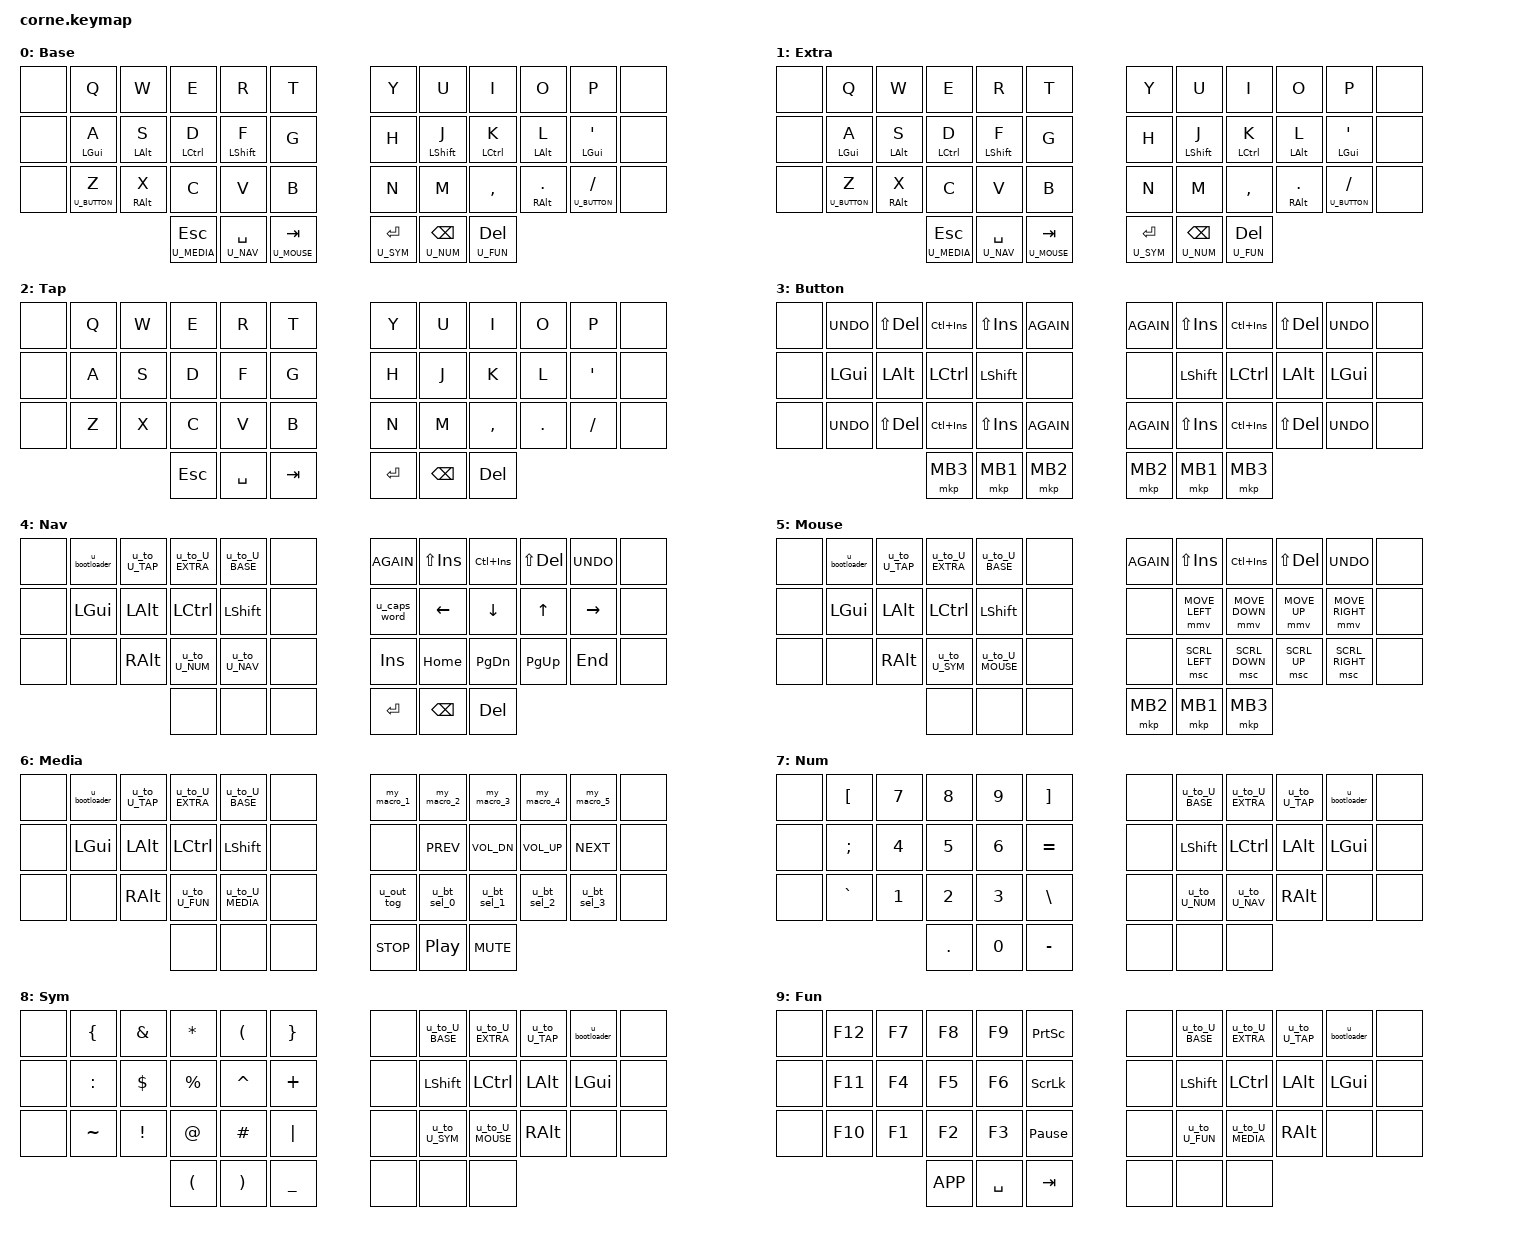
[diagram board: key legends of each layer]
#include <behaviors.dtsi>
#include <behaviors/mouse_keys.dtsi>
#include <dt-bindings/zmk/bt.h>
#include <dt-bindings/zmk/keys.h>
#include <dt-bindings/zmk/outputs.h>
#include <dt-bindings/zmk/pointing.h>
#define U_BASE 0
#define U_EXTRA 1
#define U_TAP 2
#define U_BUTTON 3
#define U_NAV 4
#define U_MOUSE 5
#define U_MEDIA 6
#define U_NUM 7
#define U_SYM 8
#define U_FUN 9
#define U_TAPPING_TERM 0xc8  // 200ms
#define U_RDO &kp K_AGAIN
#define U_PST &kp LS(INS)
#define U_CPY &kp LC(INS)
#define U_CUT &kp LS(DEL)
#define U_UND &kp K_UNDO

&mt {
  flavor = "tap-preferred";
  tapping-term-ms = <U_TAPPING_TERM>;
};

&lt {
  flavor = "tap-preferred";
  tapping-term-ms = <U_TAPPING_TERM>;
};

/ {
  behaviors {
    u_bootloader: u_bootloader {
      compatible = "zmk,behavior-tap-dance";
      #binding-cells = <0>;
      tapping-term-ms = <U_TAPPING_TERM>;
      bindings = <&none>, <&bootloader>;
    };

    u_to_U_BASE: u_to_U_BASE {
      compatible = "zmk,behavior-tap-dance";
      #binding-cells = <0>;
      tapping-term-ms = <U_TAPPING_TERM>;
      bindings = <&none>, <&to U_BASE>;
    };

    u_to_U_EXTRA: u_to_U_EXTRA {
      compatible = "zmk,behavior-tap-dance";
      #binding-cells = <0>;
      tapping-term-ms = <U_TAPPING_TERM>;
      bindings = <&none>, <&to U_EXTRA>;
    };

    u_to_U_TAP: u_to_U_TAP {
      compatible = "zmk,behavior-tap-dance";
      #binding-cells = <0>;
      tapping-term-ms = <U_TAPPING_TERM>;
      bindings = <&none>, <&to U_TAP>;
    };

    u_to_U_BUTTON: u_to_U_BUTTON {
      compatible = "zmk,behavior-tap-dance";
      #binding-cells = <0>;
      tapping-term-ms = <U_TAPPING_TERM>;
      bindings = <&none>, <&to U_BUTTON>;
    };

    u_to_U_NAV: u_to_U_NAV {
      compatible = "zmk,behavior-tap-dance";
      #binding-cells = <0>;
      tapping-term-ms = <U_TAPPING_TERM>;
      bindings = <&none>, <&to U_NAV>;
    };

    u_to_U_MOUSE: u_to_U_MOUSE {
      compatible = "zmk,behavior-tap-dance";
      #binding-cells = <0>;
      tapping-term-ms = <U_TAPPING_TERM>;
      bindings = <&none>, < &to U_MOUSE >;
    };

    u_to_U_MEDIA: u_to_U_MEDIA {
      compatible = "zmk,behavior-tap-dance";
      #binding-cells = <0>;
      tapping-term-ms = <U_TAPPING_TERM>;
      bindings = <&none>, < &to U_MEDIA >;
    };

    u_to_U_NUM: u_to_U_NUM {
      compatible = "zmk,behavior-tap-dance";
      #binding-cells = <0>;
      tapping-term-ms = <U_TAPPING_TERM>;
      bindings = <&none>, < &to U_NUM >;
    };

    u_to_U_SYM: u_to_U_SYM {
      compatible = "zmk,behavior-tap-dance";
      #binding-cells = <0>;
      tapping-term-ms = <U_TAPPING_TERM>;
      bindings = <&none>, < &to U_SYM >;
    };

    u_to_U_FUN: u_to_U_FUN {
      compatible = "zmk,behavior-tap-dance";
      #binding-cells = <0>;
      tapping-term-ms = <U_TAPPING_TERM>;
      bindings = <&none>, < &to U_FUN >;
    };

    u_caps_word: u_caps_word {
      compatible = "zmk,behavior-mod-morph";
      #binding-cells = <0>;
      bindings = <&caps_word>, <&kp CAPS>;
      mods = <( MOD_LSFT|MOD_RSFT )>;
    };

    u_out_tog: u_out_tog {
      compatible = "zmk,behavior-mod-morph";
      #binding-cells = <0>;
      bindings = <&out OUT_TOG>, <&out OUT_USB>;
      mods = <( MOD_LSFT|MOD_RSFT )>;
    };

    u_bt_sel_0: u_bt_sel_0 {
      compatible = "zmk,behavior-mod-morph";
      #binding-cells = <0>;
      bindings = <&bt BT_SEL 0>, <&bt BT_SEL 0 &bt BT_CLR>;
      mods = <( MOD_LSFT|MOD_RSFT )>;
    };

    u_bt_sel_1: u_bt_sel_1 {
      compatible = "zmk,behavior-mod-morph";
      #binding-cells = <0>;
      bindings = <&bt BT_SEL 1>, <&bt BT_SEL 1 &bt BT_CLR>;
      mods = <( MOD_LSFT|MOD_RSFT )>;
    };

    u_bt_sel_2: u_bt_sel_2 {
      compatible = "zmk,behavior-mod-morph";
      #binding-cells = <0>;
      bindings = <&bt BT_SEL 2>, <&bt BT_SEL 2 &bt BT_CLR>;
      mods = <( MOD_LSFT|MOD_RSFT )>;
    };

    u_bt_sel_3: u_bt_sel_3 {
      compatible = "zmk,behavior-mod-morph";
      #binding-cells = <0>;
      bindings = <&bt BT_SEL 3>, <&bt BT_SEL 3 &bt BT_CLR>;
      mods = <( MOD_LSFT|MOD_RSFT )>;
    };

    u_bt_sel_4: u_bt_sel_4 {
      compatible = "zmk,behavior-mod-morph";
      #binding-cells = <0>;
      bindings = <&bt BT_SEL 4>, <&bt BT_SEL 4 &bt BT_CLR>;
      mods = <( MOD_LSFT|MOD_RSFT )>;
    };
  };

  macros {
    my_macro_1: my_macro_1 {
      compatible = "zmk,behavior-macro";
      #binding-cells = <0>;
      wait-ms = <10>;
      tap-ms = <5>;
      bindings = <&none>;
    };

    my_macro_2: my_macro_2 {
      compatible = "zmk,behavior-macro";
      #binding-cells = <0>;
      wait-ms = <10>;
      tap-ms = <5>;
      bindings = <&none>;
    };

    my_macro_3: my_macro_3 {
      compatible = "zmk,behavior-macro";
      #binding-cells = <0>;
      wait-ms = <10>;
      tap-ms = <5>;
      bindings = <&none>;
    };

    my_macro_4: my_macro_4 {
      compatible = "zmk,behavior-macro";
      #binding-cells = <0>;
      wait-ms = <10>;
      tap-ms = <5>;
      bindings = <&none>;
    };

    my_macro_5: my_macro_5 {
      compatible = "zmk,behavior-macro";
      #binding-cells = <0>;
      wait-ms = <10>;
      tap-ms = <5>;
      bindings = <&none>;
    };
  };

  keymap {
    compatible = "zmk,keymap";

    base_layer {
      display-name = "Base";
      bindings = <
&none  &kp Q           &kp W       &kp E        &kp R        &kp T    &kp Y  &kp U        &kp I        &kp O         &kp P              &none
&none  &mt LGUI A      &mt LALT S  &mt LCTRL D  &mt LSHFT F  &kp G    &kp H  &mt LSHFT J  &mt LCTRL K  &mt LALT L    &mt LGUI SQT       &none
&none  &lt U_BUTTON Z  &mt RALT X  &kp C        &kp V        &kp B    &kp N  &kp M        &kp COMMA    &mt RALT DOT  &lt U_BUTTON FSLH  &none
&lt U_MEDIA ESC  &lt U_NAV SPACE  &lt U_MOUSE TAB    &lt U_SYM RET  &lt U_NUM BSPC  &lt U_FUN DEL
>;
    };

    extra_layer {
      display-name = "Extra";
      bindings = <
&none  &kp Q           &kp W       &kp E        &kp R        &kp T    &kp Y  &kp U        &kp I        &kp O         &kp P              &none
&none  &mt LGUI A      &mt LALT S  &mt LCTRL D  &mt LSHFT F  &kp G    &kp H  &mt LSHFT J  &mt LCTRL K  &mt LALT L    &mt LGUI SQT       &none
&none  &lt U_BUTTON Z  &mt RALT X  &kp C        &kp V        &kp B    &kp N  &kp M        &kp COMMA    &mt RALT DOT  &lt U_BUTTON FSLH  &none
&lt U_MEDIA ESC  &lt U_NAV SPACE  &lt U_MOUSE TAB    &lt U_SYM RET  &lt U_NUM BSPC  &lt U_FUN DEL
>;
    };

    tap_layer {
      display-name = "Tap";
      bindings = <
&none  &kp Q  &kp W  &kp E  &kp R  &kp T    &kp Y  &kp U  &kp I      &kp O    &kp P      &none
&none  &kp A  &kp S  &kp D  &kp F  &kp G    &kp H  &kp J  &kp K      &kp L    &kp SQT    &none
&none  &kp Z  &kp X  &kp C  &kp V  &kp B    &kp N  &kp M  &kp COMMA  &kp DOT  &kp SLASH  &none
&kp ESC  &kp SPACE  &kp TAB    &kp RET  &kp BSPC  &kp DEL
>;
    };

    button_layer {
      display-name = "Button";
      bindings = <
&none  U_UND     U_CUT     U_CPY      U_PST      U_RDO    U_RDO  U_PST      U_CPY      U_CUT     U_UND     &none
&none  &kp LGUI  &kp LALT  &kp LCTRL  &kp LSHFT  &none    &none  &kp LSHFT  &kp LCTRL  &kp LALT  &kp LGUI  &none
&none  U_UND     U_CUT     U_CPY      U_PST      U_RDO    U_RDO  U_PST      U_CPY      U_CUT     U_UND     &none
&mkp MB3  &mkp MB1  &mkp MB2    &mkp MB2  &mkp MB1  &mkp MB3
>;
    };

    nav_layer {
      display-name = "Nav";
      bindings = <
&none  &u_bootloader  &u_to_U_TAP  &u_to_U_EXTRA  &u_to_U_BASE  &none      U_RDO         U_PST     U_CPY      U_CUT      U_UND      &none
&none  &kp LGUI       &kp LALT     &kp LCTRL      &kp LSHFT     &none      &u_caps_word  &kp LEFT  &kp DOWN   &kp UP     &kp RIGHT  &none
&none  &none          &kp RALT     &u_to_U_NUM    &u_to_U_NAV   &none      &kp INS       &kp HOME  &kp PG_DN  &kp PG_UP  &kp END    &none
&none  &none  &none    &kp RET  &kp BSPC  &kp DEL
>;
    };

    mouse_layer {
      display-name = "Mouse";
      bindings = <
&none  &u_bootloader  &u_to_U_TAP  &u_to_U_EXTRA  &u_to_U_BASE   &none    U_RDO  U_PST           U_CPY           U_CUT         U_UND            &none
&none  &kp LGUI       &kp LALT     &kp LCTRL      &kp LSHFT      &none    &none  &mmv MOVE_LEFT  &mmv MOVE_DOWN  &mmv MOVE_UP  &mmv MOVE_RIGHT  &none
&none  &none          &kp RALT     &u_to_U_SYM    &u_to_U_MOUSE  &none    &none  &msc SCRL_LEFT  &msc SCRL_DOWN  &msc SCRL_UP  &msc SCRL_RIGHT  &none
&none  &none  &none   &mkp MB2  &mkp MB1  &mkp MB3
>;
    };

    media_layer {
      display-name = "Media";
      bindings = <
&none  &u_bootloader  &u_to_U_TAP  &u_to_U_EXTRA  &u_to_U_BASE   &none    &my_macro_1  &my_macro_2  &my_macro_3   &my_macro_4   &my_macro_5  &none
&none  &kp LGUI       &kp LALT     &kp LCTRL      &kp LSHFT      &none    &none        &kp C_PREV   &kp C_VOL_DN  &kp C_VOL_UP  &kp C_NEXT   &none
&none  &none          &kp RALT     &u_to_U_FUN    &u_to_U_MEDIA  &none    &u_out_tog   &u_bt_sel_0  &u_bt_sel_1   &u_bt_sel_2   &u_bt_sel_3  &none
&none  &none  &none    &kp C_STOP  &kp C_PP  &kp C_MUTE
>;
    };

    num_layer {
      display-name = "Num";
      bindings = <
&none  &kp LBKT  &kp N7  &kp N8  &kp N9  &kp RBKT    &none  &u_to_U_BASE  &u_to_U_EXTRA  &u_to_U_TAP  &u_bootloader  &none
&none  &kp SEMI  &kp N4  &kp N5  &kp N6  &kp EQUAL   &none  &kp LSHFT     &kp LCTRL      &kp LALT     &kp LGUI       &none
&none  &kp GRAVE &kp N1  &kp N2  &kp N3  &kp BSLH    &none  &u_to_U_NUM   &u_to_U_NAV    &kp RALT     &none          &none
&kp DOT  &kp N0  &kp MINUS    &none   &none  &none
>;
    };

    sym_layer {
      display-name = "Sym";
      bindings = <
&none  &kp LBRC   &kp AMPS  &kp ASTRK  &kp LPAR   &kp RBRC    &none  &u_to_U_BASE  &u_to_U_EXTRA  &u_to_U_TAP  &u_bootloader  &none
&none  &kp COLON  &kp DLLR  &kp PRCNT  &kp CARET  &kp PLUS    &none  &kp LSHFT     &kp LCTRL      &kp LALT     &kp LGUI       &none
&none  &kp TILDE  &kp EXCL  &kp AT     &kp HASH   &kp PIPE    &none  &u_to_U_SYM   &u_to_U_MOUSE  &kp RALT     &none          &none
&kp LPAR  &kp RPAR  &kp UNDER    &none  &none  &none
>;
    };

    fun_layer {
      display-name = "Fun";
      bindings = <
&none  &kp F12  &kp F7  &kp F8  &kp F9  &kp PSCRN          &none  &u_to_U_BASE  &u_to_U_EXTRA  &u_to_U_TAP  &u_bootloader  &none
&none  &kp F11  &kp F4  &kp F5  &kp F6  &kp SLCK           &none  &kp LSHFT     &kp LCTRL      &kp LALT     &kp LGUI       &none
&none  &kp F10  &kp F1  &kp F2  &kp F3  &kp PAUSE_BREAK    &none  &u_to_U_FUN   &u_to_U_MEDIA  &kp RALT     &none          &none
&kp K_APP  &kp SPACE  &kp TAB    &none  &none  &none
>;
    };
  };
};
